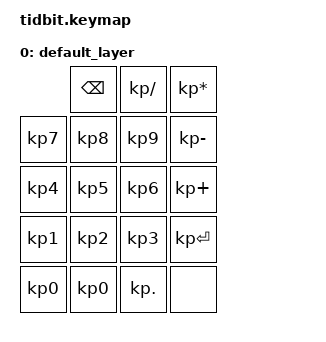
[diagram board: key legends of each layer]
/*
 * Copyright (c) 2020 The ZMK Contributors
 *
 * SPDX-License-Identifier: MIT
 */

#include <behaviors.dtsi>
#include "miryoku_alt.dtsi"
#include <dt-bindings/zmk/keys.h>

/ {
    keymap {
        compatible = "zmk,keymap";
        
        default_layer {
            bindings = <
                                &kp BACKSPACE   &kp KP_DIVIDE   &kp KP_MULTIPLY
                &kp KP_NUMBER_7 &kp KP_NUMBER_8 &kp KP_NUMBER_9 &kp KP_MINUS
                &kp KP_NUMBER_4 &kp KP_NUMBER_5 &kp KP_NUMBER_6 &kp KP_PLUS
                &kp KP_NUMBER_1 &kp KP_NUMBER_2 &kp KP_NUMBER_3 &kp KP_ENTER
                &kp KP_NUMBER_0 &kp KP_NUMBER_0 &kp KP_DOT      &none
            >;
        };

    };
};
